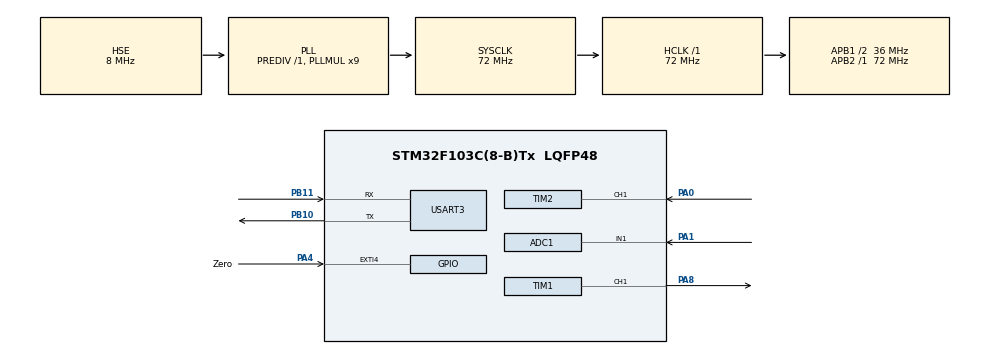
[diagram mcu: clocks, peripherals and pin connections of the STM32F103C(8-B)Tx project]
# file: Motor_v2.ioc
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ADC1.Channel-3\#ChannelRegularConversion=ADC_CHANNEL_1
ADC1.NbrOfConversionFlag=1
ADC1.Rank-3\#ChannelRegularConversion=1
ADC1.SamplingTime-3\#ChannelRegularConversion=ADC_SAMPLETIME_1CYCLE_5
ADC1.master=1
FREERTOS.Tasks01=defaultTask,24,128,StartDefaultTask,Default,NULL,Dynamic,NULL,NULL;my_PID_Task,8,128,Start_PID_Task,Default,NULL,Dynamic,NULL,NULL;my_Tachometer_T,8,128,Startmy_Tachometer_Task,Default,NULL,Dynamic,NULL,NULL
FREERTOS.configUSE_NEWLIB_REENTRANT=1
Mcu.Family=STM32F1
Mcu.Name=STM32F103C(8-B)Tx
Mcu.Package=LQFP48
NVIC.EXTI4_IRQn=true\:5\:0\:false\:false\:true\:false\:true\:true
NVIC.PriorityGroup=NVIC_PRIORITYGROUP_4
NVIC.TIM2_IRQn=true\:5\:0\:false\:false\:true\:true\:true\:true
NVIC.TIM4_IRQn=true\:15\:0\:false\:false\:true\:false\:false\:true
NVIC.TimeBase=TIM4_IRQn
NVIC.TimeBaseIP=TIM4
PA0-WKUP.Signal=S_TIM2_CH1_ETR
PA1.Signal=ADCx_IN1
PA13.Mode=Serial_Wire
PA13.Signal=SYS_JTMS-SWDIO
PA14.Mode=Serial_Wire
PA14.Signal=SYS_JTCK-SWCLK
PA4.GPIO_Label=Zero
PA4.GPIO_ModeDefaultEXTI=GPIO_MODE_IT_FALLING
PA4.Signal=GPXTI4
PA8.Signal=S_TIM1_CH1
PB10.Mode=Asynchronous
PB10.Signal=USART3_TX
PB11.Mode=Asynchronous
PB11.Signal=USART3_RX
PD0-OSC_IN.Mode=HSE-External-Oscillator
PD0-OSC_IN.Signal=RCC_OSC_IN
PD1-OSC_OUT.Mode=HSE-External-Oscillator
PD1-OSC_OUT.Signal=RCC_OSC_OUT
ProjectManager.HeapSize=0x200
ProjectManager.StackSize=0x400
ProjectManager.TargetToolchain=STM32CubeIDE
RCC.ADCPresc=RCC_ADCPCLK2_DIV6
RCC.AHBFreq_Value=72000000
RCC.APB1CLKDivider=RCC_HCLK_DIV2
RCC.APB1Freq_Value=36000000
RCC.APB1TimFreq_Value=72000000
RCC.APB2Freq_Value=72000000
RCC.APB2TimFreq_Value=72000000
RCC.HCLKFreq_Value=72000000
RCC.PLLMUL=RCC_PLL_MUL9
RCC.PLLSourceVirtual=RCC_PLLSOURCE_HSE
RCC.SYSCLKFreq_VALUE=72000000
RCC.SYSCLKSource=RCC_SYSCLKSOURCE_PLLCLK
RCC.USBFreq_Value=72000000
SH.ADCx_IN1.0=ADC1_IN1,IN1
SH.S_TIM1_CH1.0=TIM1_CH1,PWM Generation1 CH1
SH.S_TIM2_CH1_ETR.0=TIM2_CH1,Input_Capture1_from_TI1
TIM1.Channel-PWM\ Generation1\ CH1=TIM_CHANNEL_1
TIM1.OCMode_PWM-PWM\ Generation1\ CH1=TIM_OCMODE_PWM2
TIM1.Period=9000
TIM1.Prescaler=71
TIM1.Pulse-PWM\ Generation1\ CH1=5000
TIM2.Channel-Input_Capture1_from_TI1=TIM_CHANNEL_1
TIM2.Prescaler=72-1
USART3.VirtualMode=VM_ASYNC
VP_FREERTOS_VS_CMSIS_V2.Mode=CMSIS_V2
VP_SYS_VS_tim4.Mode=TIM4
VP_TIM1_VS_ClockSourceINT.Mode=Internal
VP_TIM2_VS_ClockSourceINT.Mode=Internal
board=custom

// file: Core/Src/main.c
/* USER CODE BEGIN Header */
/**
  ******************************************************************************
  * @file           : main.c
  * @brief          : Main program body
  ******************************************************************************
  * @attention
  *
  * Copyright (c) 2022 STMicroelectronics.
  * All rights reserved.
  *
  * This software is licensed under terms that can be found in the LICENSE file
  * in the root directory of this software component.
  * If no LICENSE file comes with this software, it is provided AS-IS.
  *
  ******************************************************************************
  */
/* USER CODE END Header */
#include "main.h"
#include "cmsis_os.h"

/* USER CODE BEGIN Includes */
#include <stdio.h> /* для printf */
/* USER CODE END Includes */

ADC_HandleTypeDef hadc1;

TIM_HandleTypeDef htim1;
TIM_HandleTypeDef htim2;

UART_HandleTypeDef huart3;

/* Definitions for defaultTask */
osThreadId_t defaultTaskHandle;
const osThreadAttr_t defaultTask_attributes = {
  .name = "defaultTask",
  .stack_size = 128 * 4,
  .priority = (osPriority_t) osPriorityNormal,
};
/* Definitions for my_PID_Task */
osThreadId_t my_PID_TaskHandle;
const osThreadAttr_t my_PID_Task_attributes = {
  .name = "my_PID_Task",
  .stack_size = 128 * 4,
  .priority = (osPriority_t) osPriorityLow,
};
/* Definitions for my_Tachometer_T */
osThreadId_t my_Tachometer_THandle;
const osThreadAttr_t my_Tachometer_T_attributes = {
  .name = "my_Tachometer_T",
  .stack_size = 128 * 4,
  .priority = (osPriority_t) osPriorityLow,
};

void SystemClock_Config(void);
static void MX_GPIO_Init(void);
static void MX_TIM1_Init(void);
static void MX_TIM2_Init(void);
static void MX_USART3_UART_Init(void);
static void MX_ADC1_Init(void);
void StartDefaultTask(void *argument);
void Start_PID_Task(void *argument);
void Startmy_Tachometer_Task(void *argument);

/* USER CODE BEGIN PFP */
int _write(int file, char *ptr, int len) {
	int i;
	HAL_UART_Transmit(&huart3, (uint8_t*) ptr, len, 50);
	for (i = 0; i < len; i++) {
		ITM_SendChar(*ptr++);
	}
	return len;
}
/* USER CODE END PFP */

/* USER CODE BEGIN 0 */
#define TIMCLOCK   72000000 // Установи своё значение!
#define PRESCALAR  72 // Установи своё значение!

uint32_t IC_Val1 = 0;
uint32_t IC_Val2 = 0;
uint32_t Difference = 0;
int Is_First_Captured = 0;
/* Measure Frequency */
float freq = 0;
float frequency = 0;

float median(float newVal) // “Медианный фильтр”
{
    static float buf[3];
    static int count = 0;
    buf[count] = newVal;
    if (++count > 2)
        count = 0;

    float a = buf[0];
    float b = buf[1];
    float c = buf[2];

    float middle;
    if ((a <= b) && (a <= c))
    {
        middle = (b <= c) ? b : c;
    }
    else
    {
        if ((b <= a) && (b <= c))
        {
            middle = (a <= c) ? a : c;
        }
        else
        {
            middle = (a <= b) ? a : b;
        }
    }
    frequency = middle; // Получаем значение частоты.
    //printf("frequency = %f\r\n", middle);
    return middle;
}

void HAL_TIM_IC_CaptureCallback(TIM_HandleTypeDef *htim)
{
	if (htim->Channel == HAL_TIM_ACTIVE_CHANNEL_1)
	{
		if (Is_First_Captured==0) // if the first rising edge is not captured
		{
			IC_Val1 = HAL_TIM_ReadCapturedValue(htim, TIM_CHANNEL_1); // read the first value
			Is_First_Captured = 1;  // set the first captured as true
		}

		else   // If the first rising edge is captured, now we will capture the second edge
		{
			IC_Val2 = HAL_TIM_ReadCapturedValue(htim, TIM_CHANNEL_1);  // read second value

			if (IC_Val2 > IC_Val1)
			{
				Difference = IC_Val2-IC_Val1;
			}

			else if (IC_Val1 > IC_Val2)
			{
				Difference = (0xffffffff - IC_Val1) + IC_Val2; // для 32bit 0xffffffff
			}

			float refClock = TIMCLOCK/(PRESCALAR);

			freq = refClock/Difference; // Получаем значение частоты c мусором.
			median(freq); // Подставляем получанную частоту в “Медианный фильтр”

			__HAL_TIM_SET_COUNTER(htim, 0);  // reset the counter
			Is_First_Captured = 0; // set it back to false
		}
	}
}
/*------------------------ Dimmer ---------------------------------*/
int16_t value = 0;           // For function "map"
int16_t in_max = 4095;       // max value of potentiometer
int8_t in_min = 0;           // min value of potentiometer
unsigned int out_max = 9001; // max value of new diapason
int8_t out_min = 0;          // min value of new diapason

void HAL_GPIO_EXTI_Callback(uint16_t GPIO_Pin) {
	if (GPIO_Pin == GPIO_PIN_4) // If The INT Source Is EXTI Line4 (A4 Pin)
	{
		HAL_TIM_PWM_Start(&htim1, TIM_CHANNEL_1);
	}
}

/* USER CODE END 0 */

int main(void)
{

  /* MCU Configuration--------------------------------------------------------*/

  /* Reset of all peripherals, Initializes the Flash interface and the Systick. */
  HAL_Init();

  /* Configure the system clock */
  SystemClock_Config();

  /* Initialize all configured peripherals */
  MX_GPIO_Init();
  MX_TIM1_Init();
  MX_TIM2_Init();
  MX_USART3_UART_Init();
  MX_ADC1_Init();
  /* USER CODE BEGIN 2 */
  HAL_TIM_IC_Start_IT(&htim2,TIM_CHANNEL_1);
  /* USER CODE END 2 */

  /* Init scheduler */
  osKernelInitialize();

  /* Create the thread(s) */
  /* creation of defaultTask */
  defaultTaskHandle = osThreadNew(StartDefaultTask, NULL, &defaultTask_attributes);

  /* creation of my_PID_Task */
  my_PID_TaskHandle = osThreadNew(Start_PID_Task, NULL, &my_PID_Task_attributes);

  /* creation of my_Tachometer_T */
  my_Tachometer_THandle = osThreadNew(Startmy_Tachometer_Task, NULL, &my_Tachometer_T_attributes);

  /* Start scheduler */
  osKernelStart();

  /* We should never get here as control is now taken by the scheduler */
  /* Infinite loop */
  while (1)
  {

  }
}

void SystemClock_Config(void)
{
  RCC_OscInitTypeDef RCC_OscInitStruct = {0};
  RCC_ClkInitTypeDef RCC_ClkInitStruct = {0};
  RCC_PeriphCLKInitTypeDef PeriphClkInit = {0};

  /** Initializes the RCC Oscillators according to the specified parameters
  * in the RCC_OscInitTypeDef structure.
  */
  RCC_OscInitStruct.OscillatorType = RCC_OSCILLATORTYPE_HSE;
  RCC_OscInitStruct.HSEState = RCC_HSE_ON;
  RCC_OscInitStruct.HSEPredivValue = RCC_HSE_PREDIV_DIV1;
  RCC_OscInitStruct.HSIState = RCC_HSI_ON;
  RCC_OscInitStruct.PLL.PLLState = RCC_PLL_ON;
  RCC_OscInitStruct.PLL.PLLSource = RCC_PLLSOURCE_HSE;
  RCC_OscInitStruct.PLL.PLLMUL = RCC_PLL_MUL9;
  if (HAL_RCC_OscConfig(&RCC_OscInitStruct) != HAL_OK)
  {
    Error_Handler();
  }
  /** Initializes the CPU, AHB and APB buses clocks
  */
  RCC_ClkInitStruct.ClockType = RCC_CLOCKTYPE_HCLK|RCC_CLOCKTYPE_SYSCLK
                              |RCC_CLOCKTYPE_PCLK1|RCC_CLOCKTYPE_PCLK2;
  RCC_ClkInitStruct.SYSCLKSource = RCC_SYSCLKSOURCE_PLLCLK;
  RCC_ClkInitStruct.AHBCLKDivider = RCC_SYSCLK_DIV1;
  RCC_ClkInitStruct.APB1CLKDivider = RCC_HCLK_DIV2;
  RCC_ClkInitStruct.APB2CLKDivider = RCC_HCLK_DIV1;

  if (HAL_RCC_ClockConfig(&RCC_ClkInitStruct, FLASH_LATENCY_2) != HAL_OK)
  {
    Error_Handler();
  }
  PeriphClkInit.PeriphClockSelection = RCC_PERIPHCLK_ADC;
  PeriphClkInit.AdcClockSelection = RCC_ADCPCLK2_DIV6;
  if (HAL_RCCEx_PeriphCLKConfig(&PeriphClkInit) != HAL_OK)
  {
    Error_Handler();
  }
}

static void MX_ADC1_Init(void)
{

  ADC_ChannelConfTypeDef sConfig = {0};

  /** Common config
  */
  hadc1.Instance = ADC1;
  hadc1.Init.ScanConvMode = ADC_SCAN_DISABLE;
  hadc1.Init.ContinuousConvMode = DISABLE;
  hadc1.Init.DiscontinuousConvMode = DISABLE;
  hadc1.Init.ExternalTrigConv = ADC_SOFTWARE_START;
  hadc1.Init.DataAlign = ADC_DATAALIGN_RIGHT;
  hadc1.Init.NbrOfConversion = 1;
  if (HAL_ADC_Init(&hadc1) != HAL_OK)
  {
    Error_Handler();
  }
  /** Configure Regular Channel
  */
  sConfig.Channel = ADC_CHANNEL_1;
  sConfig.Rank = ADC_REGULAR_RANK_1;
  sConfig.SamplingTime = ADC_SAMPLETIME_1CYCLE_5;
  if (HAL_ADC_ConfigChannel(&hadc1, &sConfig) != HAL_OK)
  {
    Error_Handler();
  }

}

static void MX_TIM1_Init(void)
{

  TIM_ClockConfigTypeDef sClockSourceConfig = {0};
  TIM_MasterConfigTypeDef sMasterConfig = {0};
  TIM_OC_InitTypeDef sConfigOC = {0};
  TIM_BreakDeadTimeConfigTypeDef sBreakDeadTimeConfig = {0};

  htim1.Instance = TIM1;
  htim1.Init.Prescaler = 71;
  htim1.Init.CounterMode = TIM_COUNTERMODE_UP;
  htim1.Init.Period = 9000;
  htim1.Init.ClockDivision = TIM_CLOCKDIVISION_DIV1;
  htim1.Init.RepetitionCounter = 0;
  htim1.Init.AutoReloadPreload = TIM_AUTORELOAD_PRELOAD_DISABLE;
  if (HAL_TIM_Base_Init(&htim1) != HAL_OK)
  {
    Error_Handler();
  }
  sClockSourceConfig.ClockSource = TIM_CLOCKSOURCE_INTERNAL;
  if (HAL_TIM_ConfigClockSource(&htim1, &sClockSourceConfig) != HAL_OK)
  {
    Error_Handler();
  }
  if (HAL_TIM_PWM_Init(&htim1) != HAL_OK)
  {
    Error_Handler();
  }
  sMasterConfig.MasterOutputTrigger = TIM_TRGO_RESET;
  sMasterConfig.MasterSlaveMode = TIM_MASTERSLAVEMODE_DISABLE;
  if (HAL_TIMEx_MasterConfigSynchronization(&htim1, &sMasterConfig) != HAL_OK)
  {
    Error_Handler();
  }
  sConfigOC.OCMode = TIM_OCMODE_PWM2;
  sConfigOC.Pulse = 5000;
  sConfigOC.OCPolarity = TIM_OCPOLARITY_HIGH;
  sConfigOC.OCNPolarity = TIM_OCNPOLARITY_HIGH;
  sConfigOC.OCFastMode = TIM_OCFAST_DISABLE;
  sConfigOC.OCIdleState = TIM_OCIDLESTATE_RESET;
  sConfigOC.OCNIdleState = TIM_OCNIDLESTATE_RESET;
  if (HAL_TIM_PWM_ConfigChannel(&htim1, &sConfigOC, TIM_CHANNEL_1) != HAL_OK)
  {
    Error_Handler();
  }
  sBreakDeadTimeConfig.OffStateRunMode = TIM_OSSR_DISABLE;
  sBreakDeadTimeConfig.OffStateIDLEMode = TIM_OSSI_DISABLE;
  sBreakDeadTimeConfig.LockLevel = TIM_LOCKLEVEL_OFF;
  sBreakDeadTimeConfig.DeadTime = 0;
  sBreakDeadTimeConfig.BreakState = TIM_BREAK_DISABLE;
  sBreakDeadTimeConfig.BreakPolarity = TIM_BREAKPOLARITY_HIGH;
  sBreakDeadTimeConfig.AutomaticOutput = TIM_AUTOMATICOUTPUT_DISABLE;
  if (HAL_TIMEx_ConfigBreakDeadTime(&htim1, &sBreakDeadTimeConfig) != HAL_OK)
  {
    Error_Handler();
  }
  HAL_TIM_MspPostInit(&htim1);

}

static void MX_TIM2_Init(void)
{

  TIM_ClockConfigTypeDef sClockSourceConfig = {0};
  TIM_MasterConfigTypeDef sMasterConfig = {0};
  TIM_IC_InitTypeDef sConfigIC = {0};

  htim2.Instance = TIM2;
  htim2.Init.Prescaler = 72-1;
  htim2.Init.CounterMode = TIM_COUNTERMODE_UP;
  htim2.Init.Period = 65535;
  htim2.Init.ClockDivision = TIM_CLOCKDIVISION_DIV1;
  htim2.Init.AutoReloadPreload = TIM_AUTORELOAD_PRELOAD_DISABLE;
  if (HAL_TIM_Base_Init(&htim2) != HAL_OK)
  {
    Error_Handler();
  }
  sClockSourceConfig.ClockSource = TIM_CLOCKSOURCE_INTERNAL;
  if (HAL_TIM_ConfigClockSource(&htim2, &sClockSourceConfig) != HAL_OK)
  {
    Error_Handler();
  }
  if (HAL_TIM_IC_Init(&htim2) != HAL_OK)
  {
    Error_Handler();
  }
  sMasterConfig.MasterOutputTrigger = TIM_TRGO_RESET;
  sMasterConfig.MasterSlaveMode = TIM_MASTERSLAVEMODE_DISABLE;
  if (HAL_TIMEx_MasterConfigSynchronization(&htim2, &sMasterConfig) != HAL_OK)
  {
    Error_Handler();
  }
  sConfigIC.ICPolarity = TIM_INPUTCHANNELPOLARITY_RISING;
  sConfigIC.ICSelection = TIM_ICSELECTION_DIRECTTI;
  sConfigIC.ICPrescaler = TIM_ICPSC_DIV1;
  sConfigIC.ICFilter = 0;
  if (HAL_TIM_IC_ConfigChannel(&htim2, &sConfigIC, TIM_CHANNEL_1) != HAL_OK)
  {
    Error_Handler();
  }

}

static void MX_USART3_UART_Init(void)
{

  huart3.Instance = USART3;
  huart3.Init.BaudRate = 115200;
  huart3.Init.WordLength = UART_WORDLENGTH_8B;
  huart3.Init.StopBits = UART_STOPBITS_1;
  huart3.Init.Parity = UART_PARITY_NONE;
  huart3.Init.Mode = UART_MODE_TX_RX;
  huart3.Init.HwFlowCtl = UART_HWCONTROL_NONE;
  huart3.Init.OverSampling = UART_OVERSAMPLING_16;
  if (HAL_UART_Init(&huart3) != HAL_OK)
  {
    Error_Handler();
  }

}

static void MX_GPIO_Init(void)
{
  GPIO_InitTypeDef GPIO_InitStruct = {0};

  /* GPIO Ports Clock Enable */
  __HAL_RCC_GPIOD_CLK_ENABLE();
  __HAL_RCC_GPIOA_CLK_ENABLE();
  __HAL_RCC_GPIOB_CLK_ENABLE();

  /*Configure GPIO pin : Zero_Pin */
  GPIO_InitStruct.Pin = Zero_Pin;
  GPIO_InitStruct.Mode = GPIO_MODE_IT_FALLING;
  GPIO_InitStruct.Pull = GPIO_NOPULL;
  HAL_GPIO_Init(Zero_GPIO_Port, &GPIO_InitStruct);

  /* EXTI interrupt init*/
  HAL_NVIC_SetPriority(EXTI4_IRQn, 5, 0);
  HAL_NVIC_EnableIRQ(EXTI4_IRQn);

}

void StartDefaultTask(void *argument)
{
  for(;;)
  {
    osDelay(1);
  }
}

void Start_PID_Task(void *argument)
{
  /* USER CODE BEGIN Start_PID_Task */
	uint16_t raw;
  /* Infinite loop */
  for(;;)
  {
		// Get ADC value
		HAL_ADC_Start(&hadc1);
		HAL_ADC_PollForConversion(&hadc1, HAL_MAX_DELAY);
		raw = HAL_ADC_GetValue(&hadc1);

		value = (raw - in_min) * (out_max - out_min) / (in_max - in_min)
				+ out_min; // Function map

		if (value >= 8840) {
			value = 9001; // До этого значения никогда не дойдет
			//printf("Value is: %d\r\n",value);
		} else if (value <= 15) {
			value = 0;
			//printf("Value is: %d\r\n",value);
		} else {
			value = value;
			//printf("Value is: %d\r\n",value);
		}

		__HAL_TIM_SET_COMPARE(&htim1, TIM_CHANNEL_1, value);

		//osDelay(1);
  }

  /* USER CODE END Start_PID_Task */
}

void Startmy_Tachometer_Task(void *argument)
{
  /* USER CODE BEGIN Startmy_Tachometer_Task */
  /* Infinite loop */
  for(;;)
  {
	  printf("frequency = %f\r\n",frequency);
    //osDelay(1);
  }
  /* USER CODE END Startmy_Tachometer_Task */
}

void HAL_TIM_PeriodElapsedCallback(TIM_HandleTypeDef *htim)
{
  if (htim->Instance == TIM4) {
    HAL_IncTick();
  }
}

void Error_Handler(void)
{
  __disable_irq();
  while (1)
  {
  }
}
